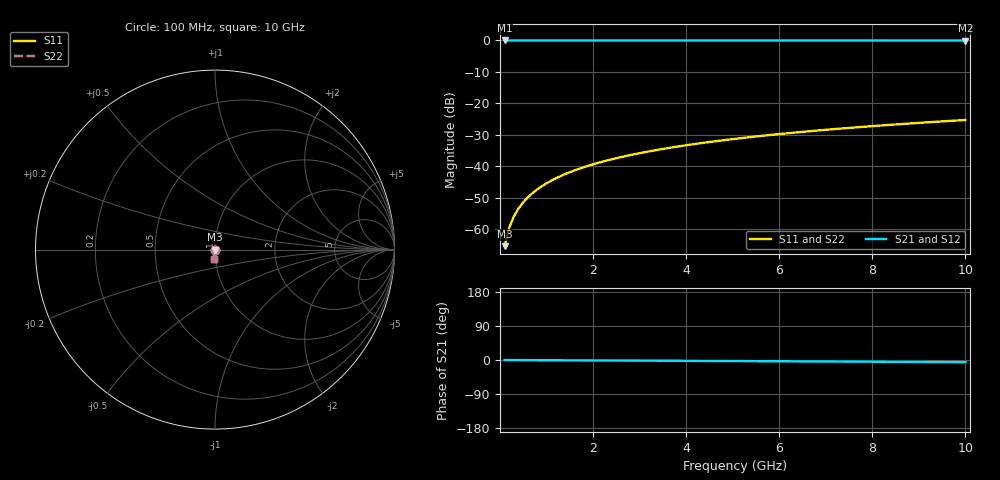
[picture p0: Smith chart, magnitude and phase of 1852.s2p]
# Hz S RI R 50.00
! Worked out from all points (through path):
!   100 points, 100 MHz to 10 GHz, reference 50 ohm
!   highest |S21| = 0.00 dB at 100 MHz (marker M1); lowest = 0.0 dB at 10 GHz (marker M2)
!   lowest |S11| = -65.3 dB at 100 MHz (marker M3), VSWR 1.00, Z = 50 - j0.0539 ohm
!   |S11| at or under -10 dB: start of sweep to end of sweep
!   |S22| runs from -65.3 to -25.3 dB; largest |S21 - S12| = 0
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1e8  6.04e-05 -0.000539  0.9999 -0.000976  0.9999 -0.000976  6.04e-05 -0.000539
2e8  5.86e-05 -0.00108  0.9999 -0.00195  0.9999 -0.00195  5.86e-05 -0.00108
3e8  5.55e-05 -0.00162  0.9999 -0.00293  0.9999 -0.00293  5.55e-05 -0.00162
4e8  5.13e-05 -0.00216  0.9999 -0.00391  0.9999 -0.00391  5.13e-05 -0.00216
5e8  4.61e-05 -0.0027  0.9999 -0.00488  0.9999 -0.00488  4.61e-05 -0.0027
6e8  3.98e-05 -0.00324  0.9999 -0.00586  0.9999 -0.00586  3.98e-05 -0.00324
7e8  3.24e-05 -0.00378  0.9999 -0.00684  0.9999 -0.00684  3.24e-05 -0.00378
8e8  2.39e-05 -0.00432  0.9999 -0.00781  0.9999 -0.00781  2.39e-05 -0.00432
9e8  1.44e-05 -0.00486  0.9999 -0.00879  0.9999 -0.00879  1.44e-05 -0.00486
1.1e9  -7.92e-06 -0.00594  0.9999 -0.0107  0.9999 -0.0107  -7.92e-06 -0.00594
1.4e9  -4.93e-05 -0.00756  0.9998 -0.0137  0.9998 -0.0137  -4.93e-05 -0.00756
1.8e9  -0.00012 -0.00972  0.9997 -0.0176  0.9997 -0.0176  -0.00012 -0.00972
2.1e9  -0.000183 -0.0113  0.9996 -0.0205  0.9996 -0.0205  -0.000183 -0.0113
2.5e9  -0.000284 -0.0135  0.9995 -0.0245  0.9995 -0.0245  -0.000284 -0.0135
2.9e9  -0.000401 -0.0157  0.9994 -0.0284  0.9994 -0.0284  -0.000401 -0.0157
3.4e9  -0.000572 -0.0184  0.9992 -0.0333  0.9992 -0.0333  -0.000572 -0.0184
4.2e9  -0.000903 -0.0228  0.9988 -0.0412  0.9988 -0.0412  -0.000903 -0.0228
5.1e9  -0.00136 -0.0277  0.9983 -0.0501  0.9983 -0.0501  -0.00136 -0.0277
5.9e9  -0.00184 -0.032  0.9977 -0.058  0.9977 -0.058  -0.00184 -0.032
6.7e9  -0.00239 -0.0364  0.997 -0.066  0.997 -0.066  -0.00239 -0.0364
8.4e9  -0.00379 -0.0457  0.9954 -0.0829  0.9954 -0.0829  -0.00379 -0.0457
1e10  -0.00541 -0.0544  0.9935 -0.0988  0.9935 -0.0988  -0.00541 -0.0544
